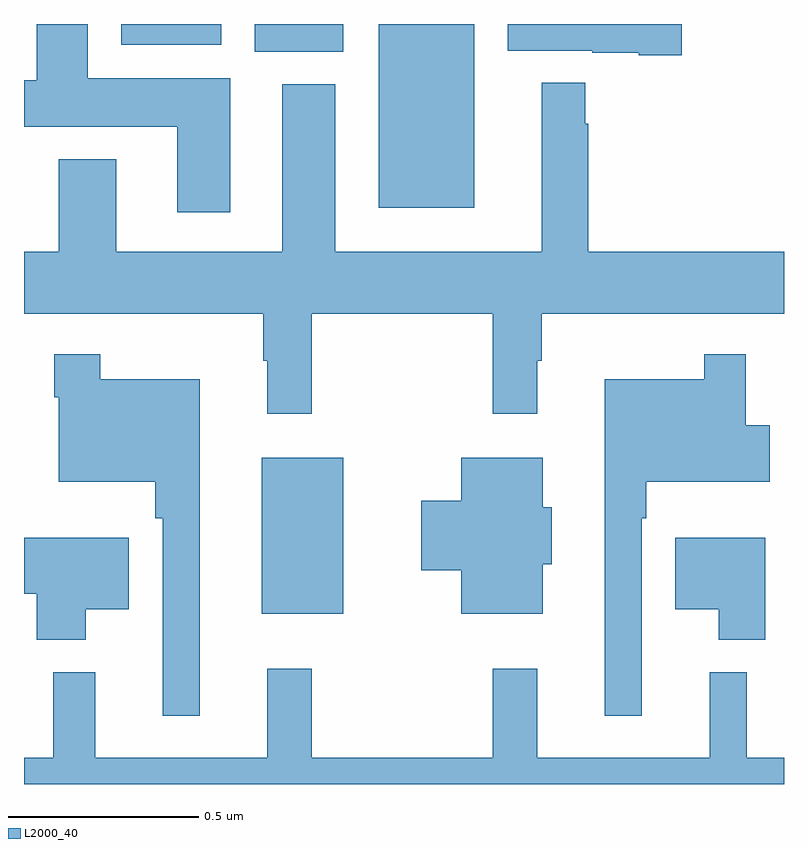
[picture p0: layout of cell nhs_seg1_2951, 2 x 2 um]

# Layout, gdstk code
import gdstk
lib = gdstk.Library(unit=1e-6, precision=1e-09)
def R(c, l, rs):  # rectangles x0, y0, x1, y1
    for r in rs: c.add(gdstk.rectangle(r[:2], r[2:], *l))
def P(c, l, *ps):  # polygons
    for p in ps: c.add(gdstk.Polygon(p, *l))
L2000_40 = (2000, 40)

nhs_seg1_2951 = lib.new_cell('nhs_seg1_2951')
R(nhs_seg1_2951, L2000_40, [(148.625,513.647,148.84,514.057), (148.934,514.715,149.185,515.199), (148.607,515.126,148.84,515.199), (148.256,515.144,148.519,515.199)])
P(nhs_seg1_2951, L2000_40, [(148.543,515.056),(148.168,515.056),(148.168,515.199),(148.034,515.199),(148.034,515.051),(148,515.051),(148,514.928),(148.403,514.928),(148.403,514.704),(148.543,514.704)],
  [(149.731,515.199),(149.273,515.199),(149.273,515.129),(149.496,515.129),(149.496,515.123),(149.618,515.123),(149.618,515.117),(149.731,515.117)],
  [(148.757,514.436),(149.233,514.436),(149.233,514.173),(149.35,514.173),(149.35,514.313),(149.362,514.313),(149.362,514.436),(150,514.436),(150,514.6),(149.485,514.6),(149.485,514.937),(149.477,514.937),(149.477,515.044),(149.363,515.044),(149.363,514.6),(148.819,514.6),(148.819,515.041),(148.679,515.041),(148.679,514.6),(148.243,514.6),(148.243,514.843),(148.091,514.843),(148.091,514.6),(148,514.6),(148,514.436),(148.629,514.436),(148.629,514.313),(148.64,514.313),(148.64,514.173),(148.757,514.173)],
  [(148.462,514.264),(148.201,514.264),(148.201,514.33),(148.08,514.33),(148.08,514.217),(148.092,514.217),(148.092,513.995),(148.345,513.995),(148.345,513.899),(148.365,513.899),(148.365,513.378),(148.462,513.378)],
  [(149.625,513.899),(149.638,513.899),(149.638,513.995),(149.962,513.995),(149.962,514.143),(149.899,514.143),(149.899,514.33),(149.79,514.33),(149.79,514.264),(149.528,514.264),(149.528,513.378),(149.625,513.378)],
  [(149.365,513.777),(149.389,513.777),(149.389,513.927),(149.365,513.927),(149.365,514.057),(149.15,514.057),(149.15,513.944),(149.045,513.944),(149.045,513.761),(149.15,513.761),(149.15,513.647),(149.365,513.647)],
  [(149.95,513.847),(149.714,513.847),(149.714,513.659),(149.828,513.659),(149.828,513.578),(149.95,513.578)],
  [(148.162,513.659),(148.276,513.659),(148.276,513.847),(148,513.847),(148,513.7),(148.033,513.7),(148.033,513.578),(148.162,513.578)],
  [(150,513.268),(149.902,513.268),(149.902,513.493),(149.804,513.493),(149.804,513.268),(149.351,513.268),(149.351,513.502),(149.233,513.502),(149.233,513.268),(148.757,513.268),(148.757,513.502),(148.64,513.502),(148.64,513.268),(148.187,513.268),(148.187,513.493),(148.077,513.493),(148.077,513.268),(148,513.268),(148,513.199),(150,513.199)])

lib.write_gds('nhs_seg1_2951.gds')
